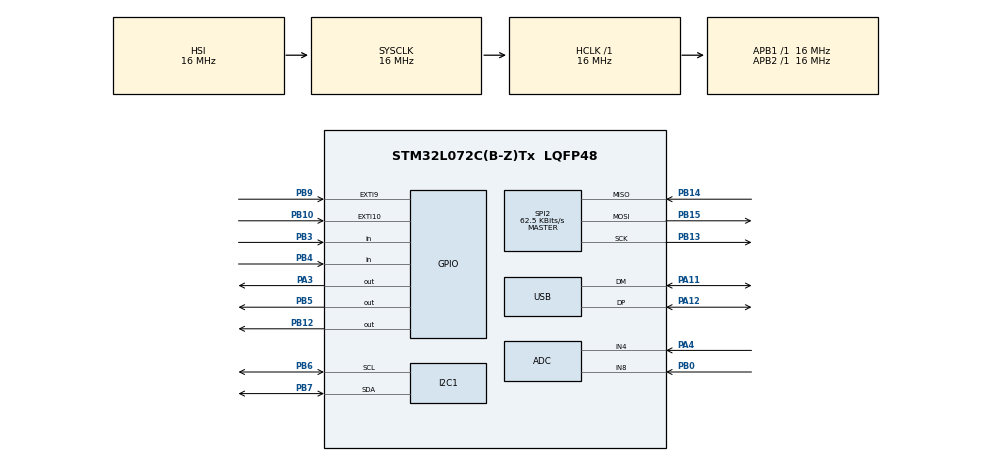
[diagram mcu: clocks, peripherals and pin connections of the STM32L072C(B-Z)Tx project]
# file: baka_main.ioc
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I2C1.Timing=0x00303D5B
Mcu.Family=STM32L0
Mcu.Name=STM32L072C(B-Z)Tx
Mcu.Package=LQFP48
NVIC.EXTI4_15_IRQn=true\:0\:0\:false\:false\:true\:true\:true\:true
NVIC.RTC_IRQn=true\:0\:0\:false\:false\:true\:true\:true\:true
NVIC.TIM2_IRQn=true\:0\:0\:false\:false\:true\:true\:true\:true
NVIC.USB_IRQn=true\:0\:0\:false\:false\:true\:false\:true\:true
PA11.Mode=Device
PA11.Signal=USB_DM
PA12.Mode=Device
PA12.Signal=USB_DP
PA3.Signal=GPIO_Output
PA4.Mode=IN4
PA4.Signal=ADC_IN4
PB0.Mode=IN8
PB0.Signal=ADC_IN8
PB10.Signal=GPXTI10
PB12.Signal=GPIO_Output
PB13.Mode=Full_Duplex_Master
PB13.Signal=SPI2_SCK
PB14.Mode=Full_Duplex_Master
PB14.Signal=SPI2_MISO
PB15.Mode=Full_Duplex_Master
PB15.Signal=SPI2_MOSI
PB3.Signal=GPIO_Input
PB4.Signal=GPIO_Input
PB5.Signal=GPIO_Output
PB6.Mode=I2C
PB6.Signal=I2C1_SCL
PB7.Mode=I2C
PB7.Signal=I2C1_SDA
PB9.Signal=GPXTI9
ProjectManager.HeapSize=0x200
ProjectManager.StackSize=0x400
ProjectManager.TargetToolchain=STM32CubeIDE
RCC.AHBFreq_Value=16000000
RCC.APB1Freq_Value=16000000
RCC.APB1TimFreq_Value=16000000
RCC.APB2Freq_Value=16000000
RCC.APB2TimFreq_Value=16000000
RCC.HCLKFreq_Value=16000000
RCC.HSE_VALUE=25000000
RCC.HSI16_VALUE=16000000
RCC.HSI48MClockSelection=RCC_USBCLKSOURCE_HSI48
RCC.HSI48_VALUE=48000000
RCC.HSI_VALUE=16000000
RCC.LSE_VALUE=32768
RCC.MSI_VALUE=2097000
RCC.PLLMUL=RCC_PLLMUL_6
RCC.SYSCLKFreq_VALUE=16000000
RCC.SYSCLKSource=RCC_SYSCLKSOURCE_HSI
RCC.VCOOutputFreq_Value=96000000
RTC.Alarm-Alarm\ A=RTC_ALARM_A
RTC.Alarm_B-Alarm\ B=RTC_ALARM_B
RTC.Format=RTC_FORMAT_BIN
SPI2.BaudRatePrescaler=SPI_BAUDRATEPRESCALER_256
SPI2.CLKPhase=SPI_PHASE_1EDGE
SPI2.CLKPolarity=SPI_POLARITY_LOW
SPI2.CalculateBaudRate=62.5 KBits/s
SPI2.Direction=SPI_DIRECTION_2LINES
SPI2.FirstBit=SPI_FIRSTBIT_MSB
SPI2.Mode=SPI_MODE_MASTER
SPI2.VirtualType=VM_MASTER
TIM2.AutoReloadPreload=TIM_AUTORELOAD_PRELOAD_ENABLE
TIM2.Period=40000
TIM2.Prescaler=400
TIM6.AutoReloadPreload=TIM_AUTORELOAD_PRELOAD_ENABLE
TIM6.Period=9
TIM6.Prescaler=15999
TIM7.AutoReloadPreload=TIM_AUTORELOAD_PRELOAD_ENABLE
TIM7.Period=9
TIM7.Prescaler=15999
USB_DEVICE.CLASS_NAME_FS=CDC
USB_DEVICE.VirtualMode=Cdc
USB_DEVICE.VirtualModeFS=Cdc_FS
VP_RTC_VS_RTC_Activate.Mode=RTC_Enabled
VP_RTC_VS_RTC_Alarm_A_Intern.Mode=Alarm A
VP_RTC_VS_RTC_Alarm_B_Intern.Mode=Alarm B
VP_RTC_VS_RTC_Calendar.Mode=RTC_Calendar
VP_TIM2_VS_ClockSourceINT.Mode=Internal
VP_TIM6_VS_ClockSourceINT.Mode=Enable_Timer
VP_TIM7_VS_ClockSourceINT.Mode=Enable_Timer
VP_USB_DEVICE_VS_USB_DEVICE_CDC_FS.Mode=CDC_FS
board=custom

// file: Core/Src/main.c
/* USER CODE BEGIN Header */
/**
  ******************************************************************************
  * @file           : main.c
  * @brief          : Main program body
  ******************************************************************************
  * @attention
  *
  * Copyright (c) 2023 STMicroelectronics.
  * All rights reserved.
  *
  * This software is licensed under terms that can be found in the LICENSE file
  * in the root directory of this software component.
  * If no LICENSE file comes with this software, it is provided AS-IS.
  *
  ******************************************************************************
  */
/* USER CODE END Header */
#include "main.h"
#include "adc.h"
#include "i2c.h"
#include "rtc.h"
#include "spi.h"
#include "tim.h"
#include "usb_device.h"
#include "gpio.h"

/* USER CODE BEGIN Includes */
#include "log.h"
#include "usbd_cdc_if.h"
#include "string.h"
#include "sx1262.h"
#include "sht20.h"
#include "solenoid_valve.h"
#include "sen0193.h"
#include "irrigation_controller.h"
#include "battery.h"
#include "system.h"
#include "communication_handler.h"
#include "rtc_handler.h"
/* USER CODE END Includes */

/* USER CODE BEGIN PTD */

// Define the function pointer type for message handlers
typedef char* (*MessageHandler)(const char*);
void masterCommandHandler(uint16_t bytesAvailable);

/* USER CODE END PTD */

/* USER CODE BEGIN PM */

#define USB_CDC_BUFFER_LEN 0xFF
/* USER CODE END PM */

void SystemClock_Config(void);

/* USER CODE BEGIN 0 */

// Define a struct to hold a message command and its corresponding handler function
typedef struct {
    char* command;
    MessageHandler handler;
} CommandEntry;

// Define a table of command entries
CommandEntry commandTable[] = {
	{"status", sx1262_get_status_log},
	{"standby", sx1262_standby_rc},
	{"receive", sx1262_receive},
	{"transmit", sx1262_transmit},
	{"buffer-read", sx1262_buffer_read},
	{"buffer-status", sx1262_buffer_status},
	{"irq", sx1262_get_irq_status},
	{"errors", sx1262_get_device_errors},
	{"cad", sx1262_channel_actitity_detection},
	{"temp", display_sht20_temp},
	{"hum", display_sht20_hum},
	{"sol-tog", solenoid_toggle},
	{"soil", display_soil_moisture},
	{"job-startup", startup_sequence},
	{"battery-state", get_battery_state},
	{"get-irrigation-schedule", get_irrigation_schedule},
	{"set-irrigation-schedule", set_irrigation_schedule},
	{"set-rtc", sync_rtc}
};

/* USER CODE END 0 */

int main(void)
{

  /* MCU Configuration--------------------------------------------------------*/

  /* Reset of all peripherals, Initializes the Flash interface and the Systick. */
  HAL_Init();

  /* Configure the system clock */
  SystemClock_Config();

  /* Initialize all configured peripherals */
  MX_GPIO_Init();
  MX_USB_DEVICE_Init();
  MX_SPI2_Init();
  MX_I2C1_Init();
  MX_ADC_Init();
  MX_RTC_Init();
  MX_TIM2_Init();
  MX_TIM6_Init();
  MX_TIM7_Init();
  /* USER CODE BEGIN 2 */

  uint16_t bytesAvailable;
  startup_sequence();
  /* USER CODE END 2 */

  /* Infinite loop */
  while (1)
    {

    /* USER CODE BEGIN 3 */
	if ((bytesAvailable = CDC_GetRxBufferBytesAvailable_FS()) > 0) {
		  masterCommandHandler(bytesAvailable);
	}

  	if(rxDone){
		rxDone = 0;
		sx1262_clear_irq(SX126X_IRQ_RX_DONE);
		LOG_TRACE("RX Done");

		radio_message_processor();
	}

	if(txDone){
		txDone = 0;
		sx1262_clear_irq(SX126X_IRQ_TX_DONE);
		LOG_TRACE("TX Done");
	}

	if(solenoid_failsafe_interupt){
		solenoid_failsafe_interupt = 0;
		solenoid_failsafe();
	}
	if(irrigation_stop){
		HAL_TIM_Base_Stop_IT(&htim6);
		HAL_TIM_Base_Stop_IT(&htim7);
		stop_irrigation();
	}

  }
  /* USER CODE END 3 */
}

void SystemClock_Config(void)
{
  RCC_OscInitTypeDef RCC_OscInitStruct = {0};
  RCC_ClkInitTypeDef RCC_ClkInitStruct = {0};
  RCC_PeriphCLKInitTypeDef PeriphClkInit = {0};

  /** Configure the main internal regulator output voltage
  */
  __HAL_PWR_VOLTAGESCALING_CONFIG(PWR_REGULATOR_VOLTAGE_SCALE1);

  /** Initializes the RCC Oscillators according to the specified parameters
  * in the RCC_OscInitTypeDef structure.
  */
  RCC_OscInitStruct.OscillatorType = RCC_OSCILLATORTYPE_HSI|RCC_OSCILLATORTYPE_LSI
                              |RCC_OSCILLATORTYPE_HSI48;
  RCC_OscInitStruct.HSIState = RCC_HSI_ON;
  RCC_OscInitStruct.HSICalibrationValue = RCC_HSICALIBRATION_DEFAULT;
  RCC_OscInitStruct.LSIState = RCC_LSI_ON;
  RCC_OscInitStruct.HSI48State = RCC_HSI48_ON;
  RCC_OscInitStruct.PLL.PLLState = RCC_PLL_NONE;
  if (HAL_RCC_OscConfig(&RCC_OscInitStruct) != HAL_OK)
  {
    Error_Handler();
  }

  /** Initializes the CPU, AHB and APB buses clocks
  */
  RCC_ClkInitStruct.ClockType = RCC_CLOCKTYPE_HCLK|RCC_CLOCKTYPE_SYSCLK
                              |RCC_CLOCKTYPE_PCLK1|RCC_CLOCKTYPE_PCLK2;
  RCC_ClkInitStruct.SYSCLKSource = RCC_SYSCLKSOURCE_HSI;
  RCC_ClkInitStruct.AHBCLKDivider = RCC_SYSCLK_DIV1;
  RCC_ClkInitStruct.APB1CLKDivider = RCC_HCLK_DIV1;
  RCC_ClkInitStruct.APB2CLKDivider = RCC_HCLK_DIV1;

  if (HAL_RCC_ClockConfig(&RCC_ClkInitStruct, FLASH_LATENCY_0) != HAL_OK)
  {
    Error_Handler();
  }
  PeriphClkInit.PeriphClockSelection = RCC_PERIPHCLK_I2C1|RCC_PERIPHCLK_RTC
                              |RCC_PERIPHCLK_USB;
  PeriphClkInit.I2c1ClockSelection = RCC_I2C1CLKSOURCE_PCLK1;
  PeriphClkInit.RTCClockSelection = RCC_RTCCLKSOURCE_LSI;
  PeriphClkInit.UsbClockSelection = RCC_USBCLKSOURCE_HSI48;
  if (HAL_RCCEx_PeriphCLKConfig(&PeriphClkInit) != HAL_OK)
  {
    Error_Handler();
  }
}

/* USER CODE BEGIN 4 */

void masterCommandHandler(uint16_t bytesAvailable){

	// USB receive buffer
	char rxData[USB_CDC_BUFFER_LEN];
	memset(rxData, 0, USB_CDC_BUFFER_LEN);

	// USB command and argument buffers
	char command[sizeof(rxData)];
	char argument[sizeof(rxData)];

	uint16_t bytesToRead = bytesAvailable >= USB_CDC_BUFFER_LEN ? USB_CDC_BUFFER_LEN : bytesAvailable;

	if (CDC_ReadRxBuffer_FS(rxData, bytesToRead) == USB_CDC_RX_BUFFER_OK) {
		//while (CDC_Transmit_FS(rxData, bytesToRead) == USBD_BUSY);
		rxData[bytesToRead] = '\0';
		char value[sizeof(rxData)];
		for (size_t i = 0; i < sizeof(rxData); i++) {
			value[i] = (char)rxData[i];
		}

		separate_string(rxData, command, argument);
		LOG_TRACE("command: %s - argument: %s", command, argument);

		executeCommand(command, argument);
	}
}

void executeCommand(const char* command, const char* argument, char* result) {
    // Iterate through the command table
    for (size_t i = 0; i < sizeof(commandTable) / sizeof(commandTable[0]); i++) {
        // Check if the command matches any entry in the command table
        if (strcmp(command, commandTable[i].command) == 0) {
            // Call the corresponding handler function
            strcpy(commandTable[i].handler(argument),result);
            return;
        }
    }
    // If no matching command is found
    LOG_TRACE("Unknown command: %s\n", command);
}

void HAL_TIM_PeriodElapsedCallback(TIM_HandleTypeDef *htim)
{
    if (htim->Instance == TIM2){
    	solenoid_failsafe_interupt = 1;
    }
    if (htim->Instance == TIM6){
    	irrigation_stop = 1;
    }
    if (htim->Instance == TIM7){
		irrigation_stop = 1;
	}
}

void HAL_RTC_AlarmAEventCallback(RTC_HandleTypeDef *hrtc) {
    // Alarm A event occurred
	start_irrigation(&time1);
}

void HAL_RTC_AlarmBEventCallback(RTC_HandleTypeDef *hrtc) {
    // Alarm B event occurred
	start_irrigation(&time2);
}

/* USER CODE END 4 */

void Error_Handler(void)
{
  __disable_irq();
  while (1)
  {
  }
}
